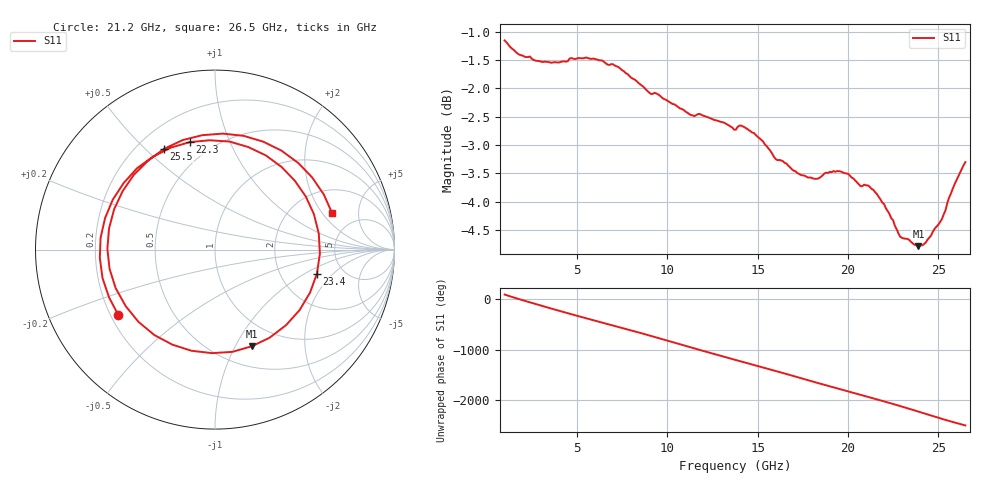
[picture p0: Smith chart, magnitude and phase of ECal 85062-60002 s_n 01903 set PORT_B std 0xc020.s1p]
!Created with skrf (http://scikit-rf.org).
# Hz S RI R 50.0
!freq ReS11 ImS11
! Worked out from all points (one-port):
!   256 points, 1 GHz to 26.5 GHz, reference 50 ohm
!   lowest |S11| = -4.8 dB at 23.9 GHz (marker M1), VSWR 3.72, Z = 36.3 - j58.5 ohm
!   |S11| at or under -10 dB: nowhere
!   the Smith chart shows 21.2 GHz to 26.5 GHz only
!   S11 on the Smith chart (normalised r, x): 21.2 GHz: 0.23, -0.29; 22.3 GHz: 0.37, +0.72; 23.4 GHz: 3.23, -1.31; 25.5 GHz: 0.31, +0.57; 26.5 GHz: 3.30, +2.51
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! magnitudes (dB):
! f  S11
! 1 GHz  -1.2
! 1.8 GHz  -1.4
! 2.7 GHz  -1.5
! 4.2 GHz  -1.5
! 5.5 GHz  -1.5
! 7.4 GHz  -1.6
! 9.1 GHz  -2.1
! 9.4 GHz  -2.1
! 10.6 GHz  -2.3
! 11.3 GHz  -2.5
! 13.8 GHz  -2.7
! 14.1 GHz  -2.7
! 14.8 GHz  -2.8
! 16 GHz  -3.2
! 17 GHz  -3.5
! 18.2 GHz  -3.6
! 19.2 GHz  -3.5
! 20.2 GHz  -3.6
! 20.7 GHz  -3.7
! 21.2 GHz  -3.7
! 22.3 GHz  -4.2
! 22.9 GHz  -4.6
! 23.4 GHz  -4.7
! 23.9 GHz  -4.8
! 24.6 GHz  -4.6
! 25.2 GHz  -4.3
! 25.5 GHz  -4.0
! 26.5 GHz  -3.3
